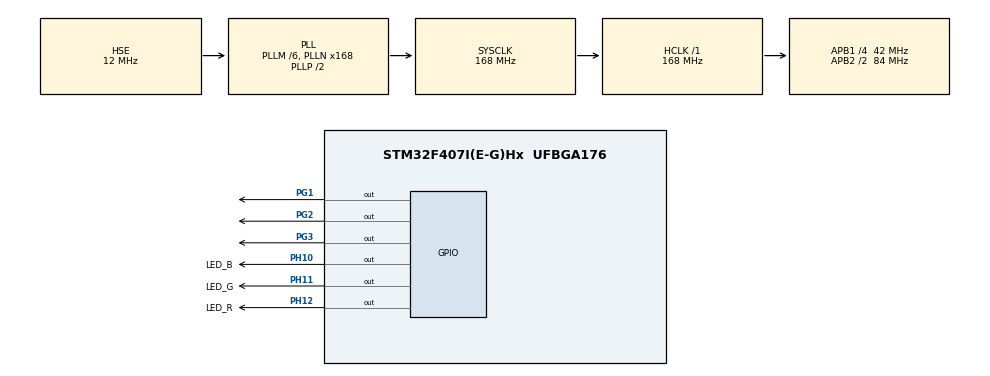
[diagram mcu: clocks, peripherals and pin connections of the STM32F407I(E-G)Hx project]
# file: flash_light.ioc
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Mcu.Family=STM32F4
Mcu.Name=STM32F407I(E-G)Hx
Mcu.Package=UFBGA176
NVIC.PriorityGroup=NVIC_PRIORITYGROUP_4
PA13.Mode=Serial_Wire
PA13.Signal=SYS_JTMS-SWDIO
PA14.Mode=Serial_Wire
PA14.Signal=SYS_JTCK-SWCLK
PG1.Signal=GPIO_Output
PG2.Signal=GPIO_Output
PG3.Signal=GPIO_Output
PH0-OSC_IN.Mode=HSE-External-Oscillator
PH0-OSC_IN.Signal=RCC_OSC_IN
PH1-OSC_OUT.Mode=HSE-External-Oscillator
PH1-OSC_OUT.Signal=RCC_OSC_OUT
PH10.GPIO_Label=LED_B
PH10.GPIO_PuPd=GPIO_PULLUP
PH10.PinState=GPIO_PIN_SET
PH10.Signal=GPIO_Output
PH11.GPIO_Label=LED_G
PH11.GPIO_PuPd=GPIO_PULLUP
PH11.PinState=GPIO_PIN_SET
PH11.Signal=GPIO_Output
PH12.GPIO_Label=LED_R
PH12.GPIO_PuPd=GPIO_PULLUP
PH12.PinState=GPIO_PIN_SET
PH12.Signal=GPIO_Output
ProjectManager.HeapSize=0x200
ProjectManager.StackSize=0x400
ProjectManager.TargetToolchain=MDK-ARM V5
RCC.48MHZClocksFreq_Value=84000000
RCC.AHBFreq_Value=168000000
RCC.APB1CLKDivider=RCC_HCLK_DIV4
RCC.APB1Freq_Value=42000000
RCC.APB1TimFreq_Value=84000000
RCC.APB2CLKDivider=RCC_HCLK_DIV2
RCC.APB2Freq_Value=84000000
RCC.APB2TimFreq_Value=168000000
RCC.CortexFreq_Value=168000000
RCC.HCLKFreq_Value=168000000
RCC.HSE_VALUE=12000000
RCC.HSI_VALUE=16000000
RCC.LSE_VALUE=32768
RCC.PLLM=6
RCC.PLLN=168
RCC.PLLSourceVirtual=RCC_PLLSOURCE_HSE
RCC.SYSCLKFreq_VALUE=168000000
RCC.SYSCLKSource=RCC_SYSCLKSOURCE_PLLCLK
RCC.VCOOutputFreq_Value=336000000
board=custom

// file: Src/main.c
/* USER CODE BEGIN Header */
/**
  ******************************************************************************
  * @file           : main.c
  * @brief          : Main program body
  ******************************************************************************
  * @attention
  *
  * <h2><center>&copy; Copyright (c) 2019 STMicroelectronics.
  * All rights reserved.</center></h2>
  *
  * This software component is licensed by ST under BSD 3-Clause license,
  * the "License"; You may not use this file except in compliance with the
  * License. You may obtain a copy of the License at:
  *                        opensource.org/licenses/BSD-3-Clause
  *
  ******************************************************************************
  */
/* USER CODE END Header */

#include "main.h"
#include "gpio.h"

void SystemClock_Config(void);
/* USER CODE BEGIN PFP */
void bsp_led_toggle(void);
void nop_delay_us(uint16_t us);
void nop_delay_ms(uint16_t ms);
void user_delay_us(uint16_t ms);
void user_delay_ms(uint16_t ms);
/* USER CODE END PFP */

/* USER CODE BEGIN 0 */

/**
  * @brief          Toggle the red led, green led and blue led
  * @param[in]      none
  * @retval         none
  */
/**
  * @brief          反转红灯，绿灯和蓝灯电平
  * @param[in]      none
  * @retval         none
  */
void bsp_led_toggle(void)
{
    HAL_GPIO_TogglePin(LED_R_GPIO_Port, LED_R_Pin);
    HAL_GPIO_TogglePin(LED_G_GPIO_Port, LED_G_Pin);
    HAL_GPIO_TogglePin(LED_B_GPIO_Port, LED_B_Pin);
}

/**
  * @brief          use nop function to wait a time
  * @param[in]      us: us microseconds
  * @retval         none
  */
/**
  * @brief          使用nop函数延迟一段时间
  * @param[in]      us:us微秒
  * @retval         none
  */
void nop_delay_us(uint16_t us)
{
    for(; us > 0; us--)
    {
        for(uint8_t i = 10; i > 0; i--)
        {
            __nop();
            __nop();
            __nop();
            __nop();
            __nop();
            __nop();
            __nop();
            __nop();
            __nop();
            __nop();
            __nop();
            __nop();
            __nop();
            __nop();
            __nop();
        }
    }
}

/**
  * @brief          use nop_delay_us wait a time
  * @param[in]      ms: ms milliseconds
  * @retval         none
  */
/**
  * @brief          使用nop_delay_us函数延迟一段时间
  * @param[in]      ms:ms毫秒
  * @retval         none
  */
void nop_delay_ms(uint16_t ms)
{
    for(; ms > 0; ms--)
    {
        nop_delay_us(1000);
    }
}

/**
  * @brief          use cycle count to wait a time
  * @param[in]      us: us microseconds
  * @retval         none
  */
/**
  * @brief          使用循环计数延迟一段时间
  * @param[in]      us:us微秒
  * @retval         none
  */
void user_delay_us(uint16_t us)
{
    for(; us > 0; us--)
    {
        for(uint8_t i = 50; i > 0; i--)
        {
            ;
        }
    }
}

/**
  * @brief          use user_delay_us function to wait a time
  * @param[in]      ms: ms milliseconds
  * @retval         none
  */
/**
  * @brief          使用user_delay_us函数延迟一段时间
  * @param[in]      ms:ms毫秒
  * @retval         none
  */
void user_delay_ms(uint16_t ms)
{
    for(; ms > 0; ms--)
    {
        user_delay_us(1000);
    }
}

/* USER CODE END 0 */

int main(void)
{

  /* MCU Configuration--------------------------------------------------------*/

  /* Reset of all peripherals, Initializes the Flash interface and the Systick. */
  HAL_Init();

  /* Configure the system clock */
  SystemClock_Config();

  /* Initialize all configured peripherals */
  MX_GPIO_Init();

  /* Infinite loop */
  while (1)
  {

    /* USER CODE BEGIN 3 */
        bsp_led_toggle();

        //nop delay
        nop_delay_ms(500);

        bsp_led_toggle();

        //cycle count delay
        user_delay_ms(500);

        bsp_led_toggle();

        //systick delay
        HAL_Delay(500);

  }
  /* USER CODE END 3 */
}

void SystemClock_Config(void)
{
  RCC_OscInitTypeDef RCC_OscInitStruct = {0};
  RCC_ClkInitTypeDef RCC_ClkInitStruct = {0};

  /** Configure the main internal regulator output voltage
  */
  __HAL_RCC_PWR_CLK_ENABLE();
  __HAL_PWR_VOLTAGESCALING_CONFIG(PWR_REGULATOR_VOLTAGE_SCALE1);
  /** Initializes the CPU, AHB and APB busses clocks
  */
  RCC_OscInitStruct.OscillatorType = RCC_OSCILLATORTYPE_HSE;
  RCC_OscInitStruct.HSEState = RCC_HSE_ON;
  RCC_OscInitStruct.PLL.PLLState = RCC_PLL_ON;
  RCC_OscInitStruct.PLL.PLLSource = RCC_PLLSOURCE_HSE;
  RCC_OscInitStruct.PLL.PLLM = 6;
  RCC_OscInitStruct.PLL.PLLN = 168;
  RCC_OscInitStruct.PLL.PLLP = RCC_PLLP_DIV2;
  RCC_OscInitStruct.PLL.PLLQ = 4;
  if (HAL_RCC_OscConfig(&RCC_OscInitStruct) != HAL_OK)
  {
    Error_Handler();
  }
  /** Initializes the CPU, AHB and APB busses clocks
  */
  RCC_ClkInitStruct.ClockType = RCC_CLOCKTYPE_HCLK|RCC_CLOCKTYPE_SYSCLK
                              |RCC_CLOCKTYPE_PCLK1|RCC_CLOCKTYPE_PCLK2;
  RCC_ClkInitStruct.SYSCLKSource = RCC_SYSCLKSOURCE_PLLCLK;
  RCC_ClkInitStruct.AHBCLKDivider = RCC_SYSCLK_DIV1;
  RCC_ClkInitStruct.APB1CLKDivider = RCC_HCLK_DIV4;
  RCC_ClkInitStruct.APB2CLKDivider = RCC_HCLK_DIV2;

  if (HAL_RCC_ClockConfig(&RCC_ClkInitStruct, FLASH_LATENCY_5) != HAL_OK)
  {
    Error_Handler();
  }
}

void Error_Handler(void)
{
}

/************************ (C) COPYRIGHT STMicroelectronics *****END OF FILE****/
